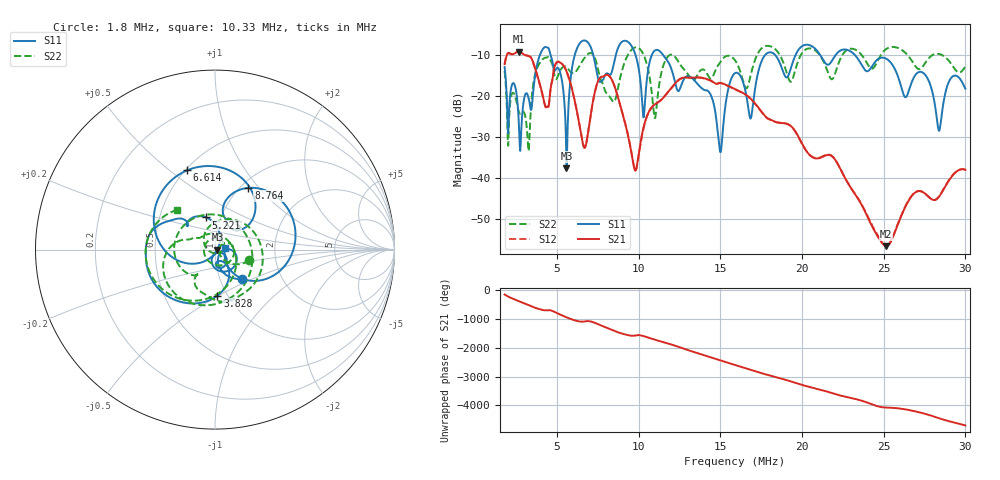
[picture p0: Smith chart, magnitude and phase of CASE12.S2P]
!Agilent Technologies,E5061B,MY49101568,A.02.00
!Date: Wed Mar 01 15:02:51 2023
!Data & Calibration Information:
!Freq	S11:SOLT2(OFF)	S21:SOLT2(OFF)	S12:SOLT2(OFF)	S22:SOLT2(OFF)
# Hz S dB R 50
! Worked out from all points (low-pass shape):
!   1155 points, 1.8 MHz to 30 MHz, reference 50 ohm
!   highest |S21| = -9.26 dB at 2.655 MHz (marker M1); lowest = -56.5 dB at 25.11 MHz (marker M2)
!   |S21| within 3 dB of the highest: 1.802 MHz to 3.579 MHz (1.777 MHz wide, 66 % of centre); 4.925 MHz to 5.312 MHz (386.8 kHz wide, 7.56 % of centre)
!   lowest |S11| = -37.6 dB at 5.588 MHz (marker M3), VSWR 1.03, Z = 51.3 + j0.0213 ohm
!   |S11| at or under -10 dB: start of sweep to 3.971 MHz; 11.48 MHz to 17.76 MHz (6.281 MHz wide, 43 % of centre); 23.21 MHz to end of sweep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
!   |S22| runs from -33.4 to -7.9 dB; largest |S21 - S12| = 0.004
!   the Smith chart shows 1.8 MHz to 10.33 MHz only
!   S11 on the Smith chart (normalised r, x): 1.8 MHz: 1.28, -0.44; 3.828 MHz: 0.90, -0.49; 5.221 MHz: 0.85, +0.32; 6.614 MHz: 0.51, +0.58; 8.764 MHz: 1.08, +0.88; 10.33 MHz: 1.12, +0.02
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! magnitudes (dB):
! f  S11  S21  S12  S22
! 1.8 MHz  -13.0  -12.3  -12.3  -14.0
! 2.655 MHz  -25.4  -9.3  -9.2  -23.7
! 3.266 MHz  -20.5  -10.3  -10.4  -33.4
! 3.828 MHz  -11.8  -15.4  -15.5  -12.9
! 5.221 MHz  -14.6  -12.0  -11.9  -13.7
! 5.588 MHz  -37.6  -14.0  -14.0  -13.1
! 6.516 MHz  -6.8  -30.1  -30.0  -11.8
! 6.614 MHz  -6.6  -32.0  -31.9  -11.2
! 7.616 MHz  -16.6  -15.7  -15.7  -15.2
! 8.764 MHz  -8.2  -20.7  -20.7  -17.6
! 9.766 MHz  -9.5  -38.0  -37.9  -8.3
! 10.33 MHz  -24.9  -27.2  -27.4  -10.3
! 11.21 MHz  -8.9  -21.5  -21.5  -18.7
! 15 MHz  -33.6  -16.9  -16.9  -11.9
! 15.9 MHz  -14.5  -18.3  -18.4  -11.3
! 16.85 MHz  -25.5  -20.7  -20.7  -15.1
! 17.76 MHz  -10.0  -25.0  -25.1  -7.9
! 20.62 MHz  -8.0  -34.8  -34.8  -8.6
! 25.11 MHz  -10.9  -56.5  -56.4  -8.8
! 25.31 MHz  -11.4  -56.2  -56.1  -8.3
! 28.39 MHz  -28.5  -44.4  -44.4  -9.8
! 30 MHz  -18.3  -38.0  -37.9  -12.9
